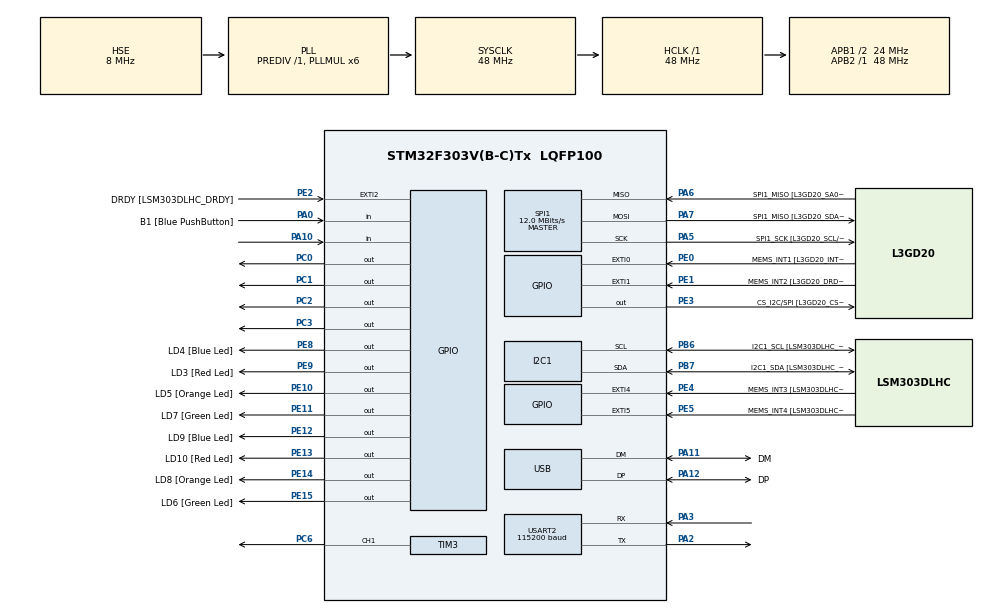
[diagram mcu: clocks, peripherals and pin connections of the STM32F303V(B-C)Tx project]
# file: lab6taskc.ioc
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I2C1.Timing=0x2000090E
I2C1.Timing-I2C=0x2000090E
Mcu.Family=STM32F3
Mcu.Name=STM32F303V(B-C)Tx
Mcu.Package=LQFP100
NVIC.PriorityGroup=NVIC_PRIORITYGROUP_0
PA0.GPIO_Label=B1 [Blue PushButton]
PA0.Signal=GPIO_Input
PA10.Signal=GPIO_Input
PA11.GPIO_Label=DM
PA11.Mode=Device
PA11.Signal=USB_DM
PA12.GPIO_Label=DP
PA12.Mode=Device
PA12.Signal=USB_DP
PA13.GPIO_Label=SWDIO
PA13.Mode=Serial_Wire
PA13.Signal=SYS_JTMS-SWDIO
PA14.GPIO_Label=SWCLK
PA14.Mode=Serial_Wire
PA14.Signal=SYS_JTCK-SWCLK
PA2.Mode=Asynchronous
PA2.Signal=USART2_TX
PA3.Mode=Asynchronous
PA3.Signal=USART2_RX
PA4.Signal=S_TIM3_CH2
PA5.GPIO_Label=SPI1_SCK [L3GD20_SCL/SPC]
PA5.Mode=Full_Duplex_Master
PA5.Signal=SPI1_SCK
PA6.GPIO_Label=SPI1_MISO [L3GD20_SA0/SDO]
PA6.Mode=Full_Duplex_Master
PA6.Signal=SPI1_MISO
PA7.GPIO_Label=SPI1_MISO [L3GD20_SDA/SDI/SDO]
PA7.Mode=Full_Duplex_Master
PA7.Signal=SPI1_MOSI
PB0.Signal=S_TIM3_CH3
PB3.GPIO_Label=SWO
PB3.Signal=SYS_JTDO-TRACESWO
PB6.GPIO_Label=I2C1_SCL [LSM303DLHC_SCL]
PB6.GPIO_Pu=GPIO_PULLUP
PB6.Mode=I2C
PB6.Signal=I2C1_SCL
PB7.GPIO_Label=I2C1_SDA [LSM303DLHC_SDA]
PB7.GPIO_Pu=GPIO_PULLUP
PB7.Mode=I2C
PB7.Signal=I2C1_SDA
PC0.Signal=GPIO_Output
PC1.Signal=GPIO_Output
PC14-OSC32_IN.GPIO_Label=OSC32_IN
PC14-OSC32_IN.Signal=RCC_OSC32_IN
PC15-OSC32_OUT.GPIO_Label=OSC32_OUT
PC15-OSC32_OUT.Signal=RCC_OSC32_OUT
PC2.Signal=GPIO_Output
PC3.Signal=GPIO_Output
PC6.Signal=S_TIM3_CH1
PE0.GPIO_Label=MEMS_INT1 [L3GD20_INT1]
PE0.GPIO_ModeDefaultEXTI=GPIO_MODE_EVT_RISING
PE0.Signal=GPXTI0
PE1.GPIO_Label=MEMS_INT2 [L3GD20_DRDY/INT2]
PE1.GPIO_ModeDefaultEXTI=GPIO_MODE_EVT_RISING
PE1.Signal=GPXTI1
PE10.GPIO_Label=LD5 [Orange Led]
PE10.Signal=GPIO_Output
PE11.GPIO_Label=LD7 [Green Led]
PE11.Signal=GPIO_Output
PE12.GPIO_Label=LD9 [Blue Led]
PE12.Signal=GPIO_Output
PE13.GPIO_Label=LD10 [Red Led]
PE13.Signal=GPIO_Output
PE14.GPIO_Label=LD8 [Orange Led]
PE14.Signal=GPIO_Output
PE15.GPIO_Label=LD6 [Green Led]
PE15.Signal=GPIO_Output
PE2.GPIO_Label=DRDY [LSM303DLHC_DRDY]
PE2.GPIO_ModeDefaultEXTI=GPIO_MODE_EVT_RISING
PE2.Signal=GPXTI2
PE3.GPIO_Label=CS_I2C/SPI [L3GD20_CS_I2C/SPI]
PE3.Signal=GPIO_Output
PE4.GPIO_Label=MEMS_INT3 [LSM303DLHC_INT1]
PE4.GPIO_ModeDefaultEXTI=GPIO_MODE_EVT_RISING
PE4.Signal=GPXTI4
PE5.GPIO_Label=MEMS_INT4 [LSM303DLHC_INT2]
PE5.GPIO_ModeDefaultEXTI=GPIO_MODE_EVT_RISING
PE5.Signal=GPXTI5
PE8.GPIO_Label=LD4 [Blue Led]
PE8.Signal=GPIO_Output
PE9.GPIO_Label=LD3 [Red Led]
PE9.Signal=GPIO_Output
PF0-OSC_IN.GPIO_Label=OSC_IN
PF0-OSC_IN.Mode=HSE-External-Clock-Source
PF0-OSC_IN.Signal=RCC_OSC_IN
PF1-OSC_OUT.GPIO_Label=OSC_OUT
PF1-OSC_OUT.Signal=RCC_OSC_OUT
ProjectManager.HeapSize=0x200
ProjectManager.StackSize=0x400
ProjectManager.TargetToolchain=CMake
RCC.AHBFreq_Value=48000000
RCC.APB1CLKDivider=RCC_HCLK_DIV2
RCC.APB1Freq_Value=24000000
RCC.APB1TimFreq_Value=48000000
RCC.APB2Freq_Value=48000000
RCC.APB2TimFreq_Value=48000000
RCC.CortexFreq_Value=48000000
RCC.HCLKFreq_Value=48000000
RCC.HSE_VALUE=8000000
RCC.HSI_VALUE=8000000
RCC.LSE_VALUE=32768
RCC.PLLMUL=RCC_PLL_MUL6
RCC.SYSCLKFreq_VALUE=48000000
RCC.SYSCLKSourceVirtual=RCC_SYSCLKSOURCE_PLLCLK
RCC.USBFreq_Value=48000000
SH.S_TIM3_CH1.0=TIM3_CH1,PWM Generation1 CH1
SH.S_TIM3_CH2.0=TIM3_CH2
SH.S_TIM3_CH3.0=TIM3_CH3
SPI1.BaudRatePrescaler=SPI_BAUDRATEPRESCALER_4
SPI1.BaudRatePrescaler-Full_Duplex_Master=SPI_BAUDRATEPRESCALER_2
SPI1.CalculateBaudRate=12.0 MBits/s
SPI1.CalculateBaudRate-Full_Duplex_Master=24.0 MBits/s
SPI1.Direction=SPI_DIRECTION_2LINES
SPI1.Mode=SPI_MODE_MASTER
SPI1.Mode-Full_Duplex_Master=SPI_MODE_MASTER
SPI1.VirtualType=VM_MASTER
TIM3.Channel-PWM\ Generation1\ CH1=TIM_CHANNEL_1
TIM3.Period=999
TIM3.Prescaler=47
USART2.BaudRate=115200
USART2.VirtualMode-Asynchronous=VM_ASYNC
VP_TIM3_VS_ClockSourceINT.Mode=Internal
board=STM32F3DISCOVERY

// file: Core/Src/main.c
/* USER CODE BEGIN Header */
/**
  ******************************************************************************
  * @file           : main.c
  * @brief          : Main program body
  ******************************************************************************
  * @attention
  *
  * Copyright (c) 2026 STMicroelectronics.
  * All rights reserved.
  *
  * This software is licensed under terms that can be found in the LICENSE file
  * in the root directory of this software component.
  * If no LICENSE file comes with this software, it is provided AS-IS.
  *
  ******************************************************************************
  */
/* USER CODE END Header */
#include "main.h"
#include "stdio.h"
#include "string.h"
#include <inttypes.h>
#include "stdarg.h"

I2C_HandleTypeDef hi2c1;

SPI_HandleTypeDef hspi1;

TIM_HandleTypeDef htim3;

UART_HandleTypeDef huart2;

PCD_HandleTypeDef hpcd_USB_FS;

/* USER CODE BEGIN PV */
#define TIMER_HZ 1000000UL     // TIM3 tick rate (1 MHz)
#define PPR      330.0f         // <-- CHANGE THIS to your encoder PPR

#define ENC_GPIO_Port GPIOA    // <-- CHANGE if your encoder is on another port
#define ENC_Pin       GPIO_PIN_10  // <-- CHANGE if not PA10
/* USER CODE END PV */

void SystemClock_Config(void);
static void MX_GPIO_Init(void);
static void MX_I2C1_Init(void);
static void MX_SPI1_Init(void);
static void MX_TIM3_Init(void);
static void MX_USB_PCD_Init(void);
static void MX_USART2_UART_Init(void);
void myPrintf(const char *fmt,...){
    char buffer[128];
    va_list args;
    va_start(args, fmt);
    vsnprintf(buffer, sizeof(buffer), fmt, args);
    va_end(args);
    HAL_UART_Transmit(&huart2,
                      (uint8_t *)buffer,
                      strlen(buffer),
                      HAL_MAX_DELAY);
  }
/* USER CODE BEGIN PFP */
void Motor_A_SetSpeed(uint8_t speed_percent);
void Motor_B_SetSpeed(uint8_t speed_percent);
void Both_Motors_SetSpeed(uint8_t speed_percent);
/* USER CODE END PFP */

/* USER CODE BEGIN 0 */

// ==================== MOTOR A CONTROL (TIM3_CH1 + PC0/PC1) ====================
#define MOTOR_A_FORWARD()   do { \
                              HAL_GPIO_WritePin(GPIOC, GPIO_PIN_0, GPIO_PIN_SET); \
                              HAL_GPIO_WritePin(GPIOC, GPIO_PIN_1, GPIO_PIN_RESET); \
                            } while(0)

#define MOTOR_A_REVERSE()   do { \
                              HAL_GPIO_WritePin(GPIOC, GPIO_PIN_0, GPIO_PIN_RESET); \
                              HAL_GPIO_WritePin(GPIOC, GPIO_PIN_1, GPIO_PIN_SET); \
                            } while(0)

#define MOTOR_A_STOP()      do { \
                              HAL_GPIO_WritePin(GPIOC, GPIO_PIN_0, GPIO_PIN_RESET); \
                              HAL_GPIO_WritePin(GPIOC, GPIO_PIN_1, GPIO_PIN_RESET); \
                            } while(0)

// ==================== MOTOR B CONTROL (TIM3_CH2 + PC2/PC3) ====================
#define MOTOR_B_FORWARD()   do { \
                              HAL_GPIO_WritePin(GPIOC, GPIO_PIN_2, GPIO_PIN_SET); \
                              HAL_GPIO_WritePin(GPIOC, GPIO_PIN_3, GPIO_PIN_RESET); \
                            } while(0)

#define MOTOR_B_REVERSE()   do { \
                              HAL_GPIO_WritePin(GPIOC, GPIO_PIN_2, GPIO_PIN_RESET); \
                              HAL_GPIO_WritePin(GPIOC, GPIO_PIN_3, GPIO_PIN_SET); \
                            } while(0)

#define MOTOR_B_STOP()      do { \
                              HAL_GPIO_WritePin(GPIOC, GPIO_PIN_2, GPIO_PIN_RESET); \
                              HAL_GPIO_WritePin(GPIOC, GPIO_PIN_3, GPIO_PIN_RESET); \
                            } while(0)

// ==================== BOTH MOTORS COMBINED ====================
#define BOTH_MOTORS_FORWARD()  do { MOTOR_A_FORWARD(); MOTOR_B_FORWARD(); } while(0)
#define BOTH_MOTORS_REVERSE()  do { MOTOR_A_REVERSE(); MOTOR_B_REVERSE(); } while(0)
#define BOTH_MOTORS_STOP()     do { MOTOR_A_STOP(); MOTOR_B_STOP(); } while(0)

// ==================== TIMER DIFF (handles rollover) ====================
static uint32_t timer_diff(uint32_t t1, uint32_t t2)
{
  if (t2 >= t1) return (t2 - t1);
  return ((htim3.Instance->ARR + 1U) - t1 + t2);
}

// ==================== UART HELPERS ====================

// ==================== ENCODER: WAIT FOR FALLING EDGE WITH TIMEOUT ====================
// Returns 1 if edge detected, 0 if timed out
static uint8_t wait_falling_edge_timeout(uint32_t timeout_ms)
{
    uint32_t start = HAL_GetTick();
    // Wait for HIGH
    while (HAL_GPIO_ReadPin(ENC_GPIO_Port, ENC_Pin) == GPIO_PIN_RESET) {
        if (HAL_GetTick() - start > timeout_ms) return 0;
    }
    // Wait for LOW (falling edge)
    while (HAL_GPIO_ReadPin(ENC_GPIO_Port, ENC_Pin) == GPIO_PIN_SET) {
        if (HAL_GetTick() - start > timeout_ms) return 0;
    }
    return 1;
}

// ==================== MOTOR SPEED FUNCTIONS ====================

// Motor A speed (TIM3_CH1)
void Motor_A_SetSpeed(uint8_t speed_percent)
{
    if (speed_percent > 100) speed_percent = 100;
    uint16_t pwm = (speed_percent * 999) / 100;
    __HAL_TIM_SET_COMPARE(&htim3, TIM_CHANNEL_1, pwm);
}

// Motor B speed (TIM3_CH2)
void Motor_B_SetSpeed(uint8_t speed_percent)
{
    if (speed_percent > 100) speed_percent = 100;
    uint16_t pwm = (speed_percent * 999) / 100;
    __HAL_TIM_SET_COMPARE(&htim3, TIM_CHANNEL_2, pwm);
}

// Both motors together
void Both_Motors_SetSpeed(uint8_t speed_percent)
{
    Motor_A_SetSpeed(speed_percent);
    Motor_B_SetSpeed(speed_percent);
}

/* USER CODE END 0 */

int main(void)
{

  /* MCU Configuration--------------------------------------------------------*/
  HAL_Init();

  /* USER CODE BEGIN Init */
  // NOTE: Do NOT put any uart_print or variable references here.
  //       UART is not initialized yet at this point.
  /* USER CODE END Init */

  /* Configure the system clock */
  SystemClock_Config();

  /* Initialize all configured peripherals */
  MX_GPIO_Init();
  MX_I2C1_Init();
  MX_SPI1_Init();
  MX_TIM3_Init();
  MX_USB_PCD_Init();
  MX_USART2_UART_Init();

  /* USER CODE BEGIN 2 */

  // FIX 1: Start base timer FIRST
  HAL_TIM_Base_Start(&htim3);

  // FIX 2: Start PWM on BOTH channels (was duplicate CH1 before)
  HAL_TIM_PWM_Start(&htim3, TIM_CHANNEL_1);   // Motor A PWM
  HAL_TIM_PWM_Start(&htim3, TIM_CHANNEL_2);   // Motor B PWM  <-- FIXED (was CH1 duplicate)

  // Clean init: stop both motors first
  BOTH_MOTORS_STOP();
  Motor_A_SetSpeed(0);
  Motor_B_SetSpeed(0);

  // Now UART is ready - safe to print
  myPrintf("System initialized.\r\n");
  myPrintf("Starting motors...\r\n");

  // Start both motors forward at full speed
  BOTH_MOTORS_FORWARD();
  Both_Motors_SetSpeed(100);

  myPrintf("Motors running. Encoder RPM polling started...\r\n");

  /* USER CODE END 2 */

  /* Infinite loop */
  while (1)
  {

    /* USER CODE BEGIN 3 */

    // 1) First falling edge (500ms timeout)
    if (!wait_falling_edge_timeout(500))
    {
        myPrintf("No encoder pulse! Check wiring on PA10.\r\n");
        HAL_Delay(500);
        continue;
    }
    uint32_t t1 = __HAL_TIM_GET_COUNTER(&htim3);

    // 2) Second falling edge (500ms timeout)
    if (!wait_falling_edge_timeout(500))
    {
        myPrintf("No encoder pulse! Check wiring on PA10.\r\n");
        HAL_Delay(500);
        continue;
    }
    uint32_t t2 = __HAL_TIM_GET_COUNTER(&htim3);

    // 3) Compute period in ticks (us)
    uint32_t dt = timer_diff(t1, t2);

    if (dt > 0)
    {
      float freq = (float)TIMER_HZ / (float)dt;   // Hz
      float rpm  = (60.0f * freq) / PPR;

      myPrintf("dt = %lu us | RPM = %.2f\r\n", dt, rpm);
    }
    else
    {
      myPrintf("dt=0, skipping.\r\n");
    }

    HAL_Delay(200);
  }
  /* USER CODE END 3 */
}

void SystemClock_Config(void)
{
  RCC_OscInitTypeDef RCC_OscInitStruct = {0};
  RCC_ClkInitTypeDef RCC_ClkInitStruct = {0};
  RCC_PeriphCLKInitTypeDef PeriphClkInit = {0};

  RCC_OscInitStruct.OscillatorType = RCC_OSCILLATORTYPE_HSI|RCC_OSCILLATORTYPE_HSE;
  RCC_OscInitStruct.HSEState = RCC_HSE_BYPASS;
  RCC_OscInitStruct.HSEPredivValue = RCC_HSE_PREDIV_DIV1;
  RCC_OscInitStruct.HSIState = RCC_HSI_ON;
  RCC_OscInitStruct.HSICalibrationValue = RCC_HSICALIBRATION_DEFAULT;
  RCC_OscInitStruct.PLL.PLLState = RCC_PLL_ON;
  RCC_OscInitStruct.PLL.PLLSource = RCC_PLLSOURCE_HSE;
  RCC_OscInitStruct.PLL.PLLMUL = RCC_PLL_MUL6;
  if (HAL_RCC_OscConfig(&RCC_OscInitStruct) != HAL_OK)
  {
    Error_Handler();
  }

  RCC_ClkInitStruct.ClockType = RCC_CLOCKTYPE_HCLK|RCC_CLOCKTYPE_SYSCLK
                              |RCC_CLOCKTYPE_PCLK1|RCC_CLOCKTYPE_PCLK2;
  RCC_ClkInitStruct.SYSCLKSource = RCC_SYSCLKSOURCE_PLLCLK;
  RCC_ClkInitStruct.AHBCLKDivider = RCC_SYSCLK_DIV1;
  RCC_ClkInitStruct.APB1CLKDivider = RCC_HCLK_DIV2;
  RCC_ClkInitStruct.APB2CLKDivider = RCC_HCLK_DIV1;

  if (HAL_RCC_ClockConfig(&RCC_ClkInitStruct, FLASH_LATENCY_1) != HAL_OK)
  {
    Error_Handler();
  }

  PeriphClkInit.PeriphClockSelection = RCC_PERIPHCLK_USB|RCC_PERIPHCLK_USART2
                              |RCC_PERIPHCLK_I2C1;
  PeriphClkInit.Usart2ClockSelection = RCC_USART2CLKSOURCE_PCLK1;
  PeriphClkInit.I2c1ClockSelection = RCC_I2C1CLKSOURCE_HSI;
  PeriphClkInit.USBClockSelection = RCC_USBCLKSOURCE_PLL;
  if (HAL_RCCEx_PeriphCLKConfig(&PeriphClkInit) != HAL_OK)
  {
    Error_Handler();
  }
}

static void MX_I2C1_Init(void)
{
  hi2c1.Instance = I2C1;
  hi2c1.Init.Timing = 0x2000090E;
  hi2c1.Init.OwnAddress1 = 0;
  hi2c1.Init.AddressingMode = I2C_ADDRESSINGMODE_7BIT;
  hi2c1.Init.DualAddressMode = I2C_DUALADDRESS_DISABLE;
  hi2c1.Init.OwnAddress2 = 0;
  hi2c1.Init.OwnAddress2Masks = I2C_OA2_NOMASK;
  hi2c1.Init.GeneralCallMode = I2C_GENERALCALL_DISABLE;
  hi2c1.Init.NoStretchMode = I2C_NOSTRETCH_DISABLE;
  if (HAL_I2C_Init(&hi2c1) != HAL_OK) { Error_Handler(); }
  if (HAL_I2CEx_ConfigAnalogFilter(&hi2c1, I2C_ANALOGFILTER_ENABLE) != HAL_OK) { Error_Handler(); }
  if (HAL_I2CEx_ConfigDigitalFilter(&hi2c1, 0) != HAL_OK) { Error_Handler(); }
}

static void MX_SPI1_Init(void)
{
  hspi1.Instance = SPI1;
  hspi1.Init.Mode = SPI_MODE_MASTER;
  hspi1.Init.Direction = SPI_DIRECTION_2LINES;
  hspi1.Init.DataSize = SPI_DATASIZE_4BIT;
  hspi1.Init.CLKPolarity = SPI_POLARITY_LOW;
  hspi1.Init.CLKPhase = SPI_PHASE_1EDGE;
  hspi1.Init.NSS = SPI_NSS_SOFT;
  hspi1.Init.BaudRatePrescaler = SPI_BAUDRATEPRESCALER_4;
  hspi1.Init.FirstBit = SPI_FIRSTBIT_MSB;
  hspi1.Init.TIMode = SPI_TIMODE_DISABLE;
  hspi1.Init.CRCCalculation = SPI_CRCCALCULATION_DISABLE;
  hspi1.Init.CRCPolynomial = 7;
  hspi1.Init.CRCLength = SPI_CRC_LENGTH_DATASIZE;
  hspi1.Init.NSSPMode = SPI_NSS_PULSE_ENABLE;
  if (HAL_SPI_Init(&hspi1) != HAL_OK) { Error_Handler(); }
}

static void MX_TIM3_Init(void)
{
  TIM_ClockConfigTypeDef sClockSourceConfig = {0};
  TIM_MasterConfigTypeDef sMasterConfig = {0};
  TIM_OC_InitTypeDef sConfigOC = {0};

  htim3.Instance = TIM3;
  htim3.Init.Prescaler = 47;              // 48MHz / (47+1) = 1MHz timer clock
  htim3.Init.CounterMode = TIM_COUNTERMODE_UP;
  htim3.Init.Period = 999;                // PWM period -> 1kHz
  htim3.Init.ClockDivision = TIM_CLOCKDIVISION_DIV1;
  htim3.Init.AutoReloadPreload = TIM_AUTORELOAD_PRELOAD_DISABLE;

  if (HAL_TIM_Base_Init(&htim3) != HAL_OK) { Error_Handler(); }

  sClockSourceConfig.ClockSource = TIM_CLOCKSOURCE_INTERNAL;
  if (HAL_TIM_ConfigClockSource(&htim3, &sClockSourceConfig) != HAL_OK) { Error_Handler(); }

  if (HAL_TIM_PWM_Init(&htim3) != HAL_OK) { Error_Handler(); }

  sMasterConfig.MasterOutputTrigger = TIM_TRGO_RESET;
  sMasterConfig.MasterSlaveMode = TIM_MASTERSLAVEMODE_DISABLE;
  if (HAL_TIMEx_MasterConfigSynchronization(&htim3, &sMasterConfig) != HAL_OK) { Error_Handler(); }

  sConfigOC.OCMode = TIM_OCMODE_PWM1;
  sConfigOC.Pulse = 0;
  sConfigOC.OCPolarity = TIM_OCPOLARITY_HIGH;
  sConfigOC.OCFastMode = TIM_OCFAST_DISABLE;

  // Channel 1 - Motor A
  if (HAL_TIM_PWM_ConfigChannel(&htim3, &sConfigOC, TIM_CHANNEL_1) != HAL_OK) { Error_Handler(); }

  // FIX 3: Channel 2 - Motor B (was missing before!)
  if (HAL_TIM_PWM_ConfigChannel(&htim3, &sConfigOC, TIM_CHANNEL_2) != HAL_OK) { Error_Handler(); }

  HAL_TIM_MspPostInit(&htim3);
}

static void MX_USART2_UART_Init(void)
{
  huart2.Instance = USART2;
  huart2.Init.BaudRate = 115200;
  huart2.Init.WordLength = UART_WORDLENGTH_8B;
  huart2.Init.StopBits = UART_STOPBITS_1;
  huart2.Init.Parity = UART_PARITY_NONE;
  huart2.Init.Mode = UART_MODE_TX_RX;
  huart2.Init.HwFlowCtl = UART_HWCONTROL_NONE;
  huart2.Init.OverSampling = UART_OVERSAMPLING_16;
  huart2.Init.OneBitSampling = UART_ONE_BIT_SAMPLE_DISABLE;
  huart2.AdvancedInit.AdvFeatureInit = UART_ADVFEATURE_NO_INIT;
  if (HAL_UART_Init(&huart2) != HAL_OK) { Error_Handler(); }
}

static void MX_USB_PCD_Init(void)
{
  hpcd_USB_FS.Instance = USB;
  hpcd_USB_FS.Init.dev_endpoints = 8;
  hpcd_USB_FS.Init.speed = PCD_SPEED_FULL;
  hpcd_USB_FS.Init.phy_itface = PCD_PHY_EMBEDDED;
  hpcd_USB_FS.Init.low_power_enable = DISABLE;
  hpcd_USB_FS.Init.battery_charging_enable = DISABLE;
  if (HAL_PCD_Init(&hpcd_USB_FS) != HAL_OK) { Error_Handler(); }
}

static void MX_GPIO_Init(void)
{
  GPIO_InitTypeDef GPIO_InitStruct = {0};

  /* GPIO Ports Clock Enable */
  __HAL_RCC_GPIOE_CLK_ENABLE();
  __HAL_RCC_GPIOC_CLK_ENABLE();
  __HAL_RCC_GPIOF_CLK_ENABLE();
  __HAL_RCC_GPIOA_CLK_ENABLE();
  __HAL_RCC_GPIOB_CLK_ENABLE();

  /* Configure GPIO pin Output Level */
  HAL_GPIO_WritePin(GPIOE, CS_I2C_SPI_Pin|LD4_Pin|LD3_Pin|LD5_Pin
                          |LD7_Pin|LD9_Pin|LD10_Pin|LD8_Pin
                          |LD6_Pin, GPIO_PIN_RESET);

  HAL_GPIO_WritePin(GPIOC, GPIO_PIN_0|GPIO_PIN_1|GPIO_PIN_2|GPIO_PIN_3, GPIO_PIN_RESET);

  /* MEMS interrupt pins */
  GPIO_InitStruct.Pin = DRDY_Pin|MEMS_INT3_Pin|MEMS_INT4_Pin|MEMS_INT1_Pin|MEMS_INT2_Pin;
  GPIO_InitStruct.Mode = GPIO_MODE_EVT_RISING;
  GPIO_InitStruct.Pull = GPIO_NOPULL;
  HAL_GPIO_Init(GPIOE, &GPIO_InitStruct);

  /* LED output pins */
  GPIO_InitStruct.Pin = CS_I2C_SPI_Pin|LD4_Pin|LD3_Pin|LD5_Pin
                          |LD7_Pin|LD9_Pin|LD10_Pin|LD8_Pin|LD6_Pin;
  GPIO_InitStruct.Mode = GPIO_MODE_OUTPUT_PP;
  GPIO_InitStruct.Pull = GPIO_NOPULL;
  GPIO_InitStruct.Speed = GPIO_SPEED_FREQ_LOW;
  HAL_GPIO_Init(GPIOE, &GPIO_InitStruct);

  /* Motor direction pins PC0-PC3 */
  GPIO_InitStruct.Pin = GPIO_PIN_0|GPIO_PIN_1|GPIO_PIN_2|GPIO_PIN_3;
  GPIO_InitStruct.Mode = GPIO_MODE_OUTPUT_PP;
  GPIO_InitStruct.Pull = GPIO_NOPULL;
  GPIO_InitStruct.Speed = GPIO_SPEED_FREQ_LOW;
  HAL_GPIO_Init(GPIOC, &GPIO_InitStruct);

  /* Button + Encoder input PA10 */
  GPIO_InitStruct.Pin = B1_Pin|GPIO_PIN_10;
  GPIO_InitStruct.Mode = GPIO_MODE_INPUT;
  GPIO_InitStruct.Pull = GPIO_PULLUP;
  HAL_GPIO_Init(GPIOA, &GPIO_InitStruct);
}

/**
  * @brief  Error Handler
  */
void Error_Handler(void)
{
  __disable_irq();
  while (1) { }
}
